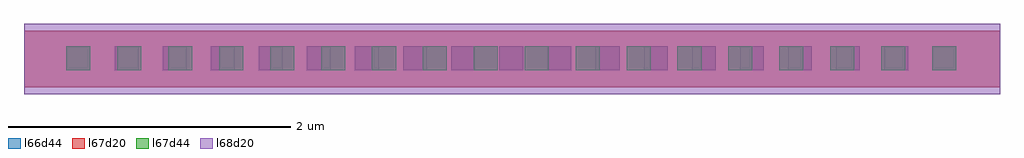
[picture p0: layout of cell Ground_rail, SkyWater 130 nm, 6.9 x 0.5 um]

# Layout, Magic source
magic
tech sky130a
<< l67d20 >>
rect -805 5 -115 45
<< l66d44 >>
rect -775 17 -758 34
rect -741 17 -724 34
rect -707 17 -690 34
rect -673 17 -656 34
rect -639 17 -622 34
rect -605 17 -588 34
rect -571 17 -554 34
rect -537 17 -520 34
rect -503 17 -486 34
rect -469 17 -452 34
rect -435 17 -418 34
rect -401 17 -384 34
rect -367 17 -350 34
rect -333 17 -316 34
rect -299 17 -282 34
rect -265 17 -248 34
rect -231 17 -214 34
rect -197 17 -180 34
rect -163 17 -146 34
<< l67d44 >>
rect -775 17 -758 34
rect -739 17 -722 34
rect -703 17 -686 34
rect -667 17 -650 34
rect -631 17 -614 34
rect -595 17 -578 34
rect -559 17 -542 34
rect -523 17 -506 34
rect -487 17 -470 34
rect -451 17 -434 34
rect -415 17 -398 34
rect -379 17 -362 34
rect -343 17 -326 34
rect -307 17 -290 34
rect -271 17 -254 34
rect -235 17 -218 34
rect -199 17 -182 34
rect -163 17 -146 34
<< l68d20 >>
rect -805 0 -115 50
<< end >>
